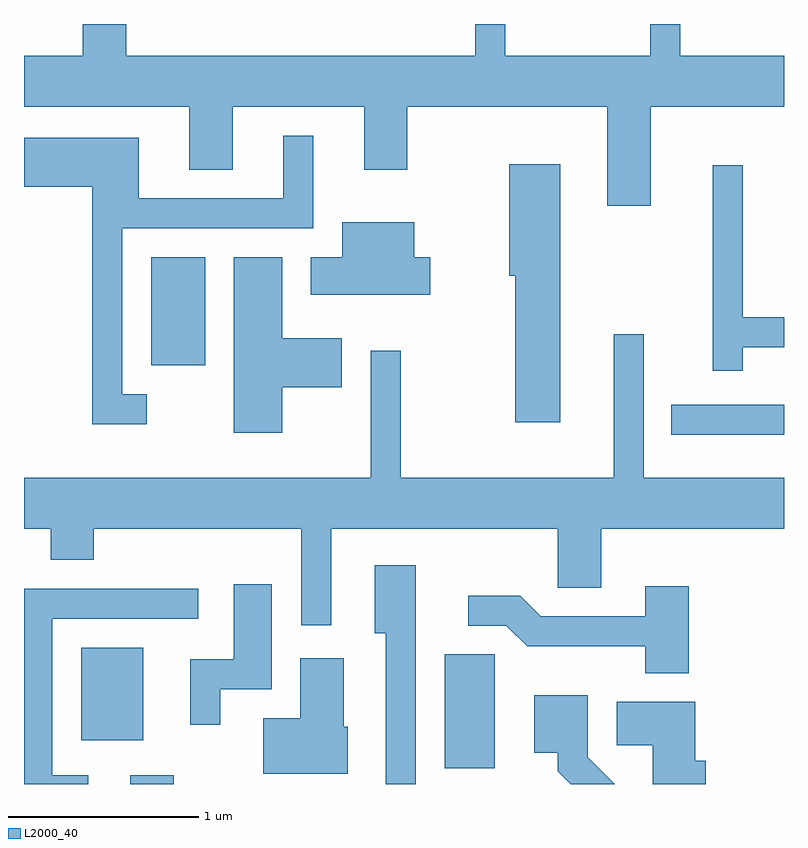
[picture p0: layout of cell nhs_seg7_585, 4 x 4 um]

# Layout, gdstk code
import gdstk
lib = gdstk.Library(unit=1e-6, precision=1e-09)
def R(c, l, rs):  # rectangles x0, y0, x1, y1
    for r in rs: c.add(gdstk.rectangle(r[:2], r[2:], *l))
def P(c, l, *ps):  # polygons
    for p in ps: c.add(gdstk.Polygon(p, *l))
L2000_40 = (2000, 40)

nhs_seg7_585 = lib.new_cell('nhs_seg7_585')
R(nhs_seg7_585, L2000_40, [(202.171,1766.252,202.399,1766.299), (203.826,1766.336,204.089,1766.934), (201.911,1766.481,202.239,1766.969), (205.018,1768.091,205.611,1768.249), (202.281,1768.456,202.564,1769.024)])
P(nhs_seg7_585, L2000_40, [(204.909,1769.816),(205.611,1769.816),(205.611,1770.084),(205.064,1770.084),(205.064,1770.252),(204.906,1770.252),(204.906,1770.084),(204.144,1770.084),(204.144,1770.252),(203.986,1770.252),(203.986,1770.084),(202.149,1770.084),(202.149,1770.252),(201.921,1770.252),(201.921,1770.084),(201.611,1770.084),(201.611,1769.816),(202.481,1769.816),(202.481,1769.486),(202.709,1769.486),(202.709,1769.816),(203.401,1769.816),(203.401,1769.486),(203.629,1769.486),(203.629,1769.816),(204.681,1769.816),(204.681,1769.296),(204.909,1769.296)],
  [(202.258,1768.304),(202.129,1768.304),(202.129,1769.176),(203.134,1769.176),(203.134,1769.663),(202.976,1769.663),(202.976,1769.334),(202.214,1769.334),(202.214,1769.654),(201.611,1769.654),(201.611,1769.396),(201.971,1769.396),(201.971,1768.146),(202.258,1768.146)],
  [(204.434,1769.514),(204.166,1769.514),(204.166,1768.926),(204.196,1768.926),(204.196,1768.156),(204.434,1768.156)],
  [(205.394,1768.551),(205.611,1768.551),(205.611,1768.709),(205.394,1768.709),(205.394,1769.508),(205.236,1769.508),(205.236,1768.428),(205.394,1768.428)],
  [(203.749,1769.024),(203.664,1769.024),(203.664,1769.209),(203.286,1769.209),(203.286,1769.024),(203.121,1769.024),(203.121,1768.826),(203.749,1768.826)],
  [(202.969,1768.341),(203.284,1768.341),(203.284,1768.599),(202.969,1768.599),(202.969,1769.024),(202.716,1769.024),(202.716,1768.101),(202.969,1768.101)],
  [(203.229,1767.596),(204.421,1767.596),(204.421,1767.286),(204.649,1767.286),(204.649,1767.596),(205.611,1767.596),(205.611,1767.864),(204.874,1767.864),(204.874,1768.618),(204.716,1768.618),(204.716,1767.864),(203.594,1767.864),(203.594,1768.533),(203.436,1768.533),(203.436,1767.864),(201.611,1767.864),(201.611,1767.596),(201.751,1767.596),(201.751,1767.431),(201.979,1767.431),(201.979,1767.596),(203.071,1767.596),(203.071,1767.088),(203.229,1767.088)],
  [(203.674,1767.404),(203.456,1767.404),(203.456,1767.046),(203.516,1767.046),(203.516,1766.252),(203.674,1766.252)],
  [(202.644,1766.751),(202.914,1766.751),(202.914,1767.304),(202.716,1767.304),(202.716,1766.909),(202.486,1766.909),(202.486,1766.563),(202.644,1766.563)],
  [(205.109,1767.294),(204.881,1767.294),(204.881,1767.134),(204.332,1767.134),(204.222,1767.244),(203.948,1767.244),(203.948,1767.086),(204.149,1767.086),(204.259,1766.976),(204.881,1766.976),(204.881,1766.836),(205.109,1766.836)],
  [(201.948,1766.299),(201.759,1766.299),(201.759,1767.121),(202.528,1767.121),(202.528,1767.279),(201.611,1767.279),(201.611,1766.252),(201.948,1766.252)],
  [(203.314,1766.554),(203.294,1766.554),(203.294,1766.914),(203.066,1766.914),(203.066,1766.599),(202.871,1766.599),(202.871,1766.306),(203.314,1766.306)],
  [(204.579,1766.392),(204.579,1766.719),(204.296,1766.719),(204.296,1766.416),(204.421,1766.416),(204.421,1766.319),(204.488,1766.252),(204.719,1766.252)],
  [(205.199,1766.374),(205.144,1766.374),(205.144,1766.684),(204.731,1766.684),(204.731,1766.456),(204.921,1766.456),(204.921,1766.252),(205.199,1766.252)])

lib.write_gds('nhs_seg7_585.gds')
